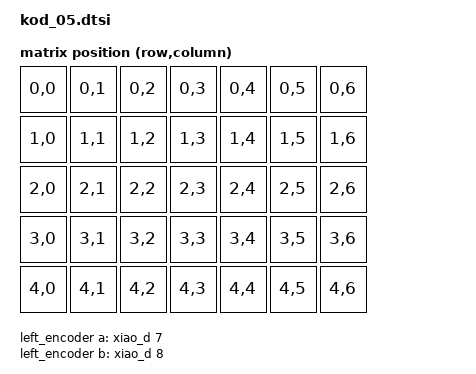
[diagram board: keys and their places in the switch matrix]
/*
 * SPDX-License-Identifier: MIT
 */

#include <dt-bindings/zmk/matrix_transform.h>

/ {
    chosen {
        zmk,kscan = &kscan0;
        zmk,matrix-transform = &default_transform;
    };

    default_transform: keymap_transform_0 {
        compatible = "zmk,matrix-transform";
        columns = <7>;
        rows = <5>;

        map = <
            RC(0,0) RC(0,1) RC(0,2) RC(0,3) RC(0,4) RC(0,5) RC(0,6)
            RC(1,0) RC(1,1) RC(1,2) RC(1,3) RC(1,4) RC(1,5) RC(1,6)
            RC(2,0) RC(2,1) RC(2,2) RC(2,3) RC(2,4) RC(2,5) RC(2,6)
            RC(3,0) RC(3,1) RC(3,2) RC(3,3) RC(3,4) RC(3,5) RC(3,6)
            RC(4,0) RC(4,1) RC(4,2) RC(4,3) RC(4,4) RC(4,5) RC(4,6)
        >;
    };
    left_encoder: left_encoder {
        compatible = "alps,ec11";
        a-gpios = <&xiao_d 7 (GPIO_ACTIVE_HIGH | GPIO_PULL_UP)>;
        b-gpios = <&xiao_d 8 (GPIO_ACTIVE_HIGH | GPIO_PULL_UP)>;
        steps = <24>;
        status = "disabled";
    };

    sensors: sensors {
        compatible = "zmk,keymap-sensors";
        sensors = <&left_encoder>;
        triggers-per-rotation = <12>;
    };
};

/*
 * P0.09/P0.10(NFC1/NFC2)を左右リンクUART1に転用するため、
 * NFCペリフェラルではなく通常GPIOとして使うよう明示的に切り替える。
 * これが無いと当該2ピンがNFCアンテナ用のアナログモードのままになり、
 * UART1が正常に機能しない。
 */
&uicr {
    nfct-pins-as-gpios;
};
